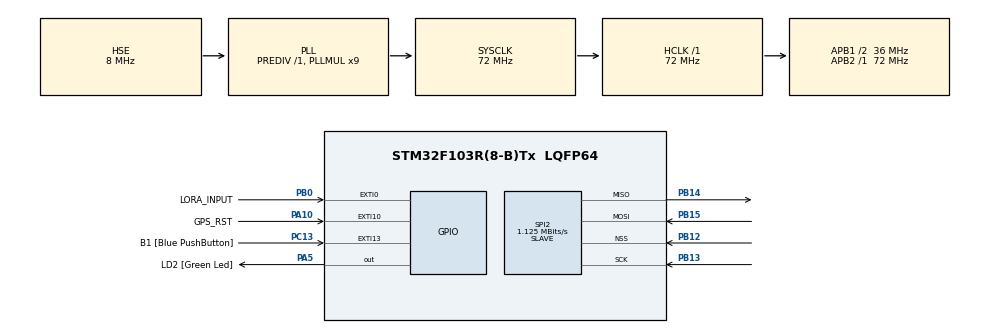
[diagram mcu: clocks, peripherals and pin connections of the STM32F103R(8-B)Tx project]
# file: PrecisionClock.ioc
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Mcu.Family=STM32F1
Mcu.Name=STM32F103R(8-B)Tx
Mcu.Package=LQFP64
NVIC.EXTI0_IRQn=true\:0\:0\:false\:false\:true\:true
NVIC.EXTI15_10_IRQn=true\:0\:0\:false\:false\:true\:true
NVIC.PriorityGroup=NVIC_PRIORITYGROUP_4
NVIC.SPI2_IRQn=true\:0\:0\:false\:false\:true\:true
PA10.GPIO_Label=GPS_RST
PA10.GPIO_PuPd=GPIO_NOPULL
PA10.Signal=GPXTI10
PA13.GPIO_Label=TMS
PA13.Mode=Serial_Wire
PA13.Signal=SYS_JTMS-SWDIO
PA14.GPIO_Label=TCK
PA14.Mode=Serial_Wire
PA14.Signal=SYS_JTCK-SWCLK
PA2.GPIO_Label=USART_TX
PA2.GPIO_Mode=GPIO_MODE_AF_PP
PA2.GPIO_PuPd=GPIO_NOPULL
PA2.GPIO_Speed=GPIO_SPEED_FREQ_LOW
PA2.Signal=USART2_TX
PA3.GPIO_Label=USART_RX
PA3.GPIO_Mode=GPIO_MODE_AF_PP
PA3.GPIO_PuPd=GPIO_NOPULL
PA3.GPIO_Speed=GPIO_SPEED_FREQ_LOW
PA3.Signal=USART2_RX
PA5.GPIO_Label=LD2 [Green Led]
PA5.GPIO_ModeDefaultOutputPP=GPIO_MODE_OUTPUT_PP
PA5.GPIO_PuPd=GPIO_NOPULL
PA5.GPIO_Speed=GPIO_SPEED_FREQ_LOW
PA5.Signal=GPIO_Output
PB0.GPIO_Label=LORA_INPUT
PB0.Signal=GPXTI0
PB12.Mode=NSS_Signal_Hard_Input
PB12.Signal=SPI2_NSS
PB13.Mode=Full_Duplex_Slave
PB13.Signal=SPI2_SCK
PB14.Mode=Full_Duplex_Slave
PB14.Signal=SPI2_MISO
PB15.Mode=Full_Duplex_Slave
PB15.Signal=SPI2_MOSI
PB3.GPIO_Label=SWO
PB3.Signal=SYS_JTDO-TRACESWO
PC13-TAMPER-RTC.GPIO_Label=B1 [Blue PushButton]
PC13-TAMPER-RTC.GPIO_PuPd=GPIO_NOPULL
PC13-TAMPER-RTC.Signal=GPXTI13
PC14-OSC32_IN.Mode=LSE-External-Oscillator
PC14-OSC32_IN.Signal=RCC_OSC32_IN
PC15-OSC32_OUT.Mode=LSE-External-Oscillator
PC15-OSC32_OUT.Signal=RCC_OSC32_OUT
PD0-OSC_IN.Mode=HSE-External-Clock-Source
PD0-OSC_IN.Signal=RCC_OSC_IN
PD1-OSC_OUT.Mode=HSE-External-Clock-Source
PD1-OSC_OUT.Signal=RCC_OSC_OUT
ProjectManager.HeapSize=0x200
ProjectManager.StackSize=0x400
ProjectManager.TargetToolchain=EWARM
RCC.AHBFreq_Value=72000000
RCC.APB1CLKDivider=RCC_HCLK_DIV2
RCC.APB1Freq_Value=36000000
RCC.APB1TimFreq_Value=72000000
RCC.APB2Freq_Value=72000000
RCC.APB2TimFreq_Value=72000000
RCC.HCLKFreq_Value=72000000
RCC.PLLMUL=RCC_PLL_MUL9
RCC.PLLSourceVirtual=RCC_PLLSOURCE_HSE
RCC.RTCClockSelection=RCC_RTCCLKSOURCE_LSE
RCC.SYSCLKFreq_VALUE=72000000
RCC.SYSCLKSource=RCC_SYSCLKSOURCE_PLLCLK
RCC.USBFreq_Value=72000000
SPI2.BaudRatePrescaler=SPI_BAUDRATEPRESCALER_32
SPI2.CalculateBaudRate=1.125 MBits/s
SPI2.Direction=SPI_DIRECTION_2LINES
SPI2.Mode=SPI_MODE_SLAVE
SPI2.VirtualNSS=VM_NSSHARD
SPI2.VirtualType=VM_SLAVE
TIM3.Period=39999
TIM3.Prescaler=8
VP_TIM3_VS_ClockSourceINT.Mode=Internal
board=NUCLEO-F103RB

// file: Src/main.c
/**
  ******************************************************************************
  * @file           : main.c
  * @brief          : Main program body
  ******************************************************************************
  ** This notice applies to any and all portions of this file
  * that are not between comment pairs USER CODE BEGIN and
  * USER CODE END. Other portions of this file, whether
  * inserted by the user or by software development tools
  * are owned by their respective copyright owners.
  *
  * COPYRIGHT(c) 2018 STMicroelectronics
  *
  * Redistribution and use in source and binary forms, with or without modification,
  * are permitted provided that the following conditions are met:
  *   1. Redistributions of source code must retain the above copyright notice,
  *      this list of conditions and the following disclaimer.
  *   2. Redistributions in binary form must reproduce the above copyright notice,
  *      this list of conditions and the following disclaimer in the documentation
  *      and/or other materials provided with the distribution.
  *   3. Neither the name of STMicroelectronics nor the names of its contributors
  *      may be used to endorse or promote products derived from this software
  *      without specific prior written permission.
  *
  * THIS SOFTWARE IS PROVIDED BY THE COPYRIGHT HOLDERS AND CONTRIBUTORS "AS IS"
  * AND ANY EXPRESS OR IMPLIED WARRANTIES, INCLUDING, BUT NOT LIMITED TO, THE
  * IMPLIED WARRANTIES OF MERCHANTABILITY AND FITNESS FOR A PARTICULAR PURPOSE ARE
  * DISCLAIMED. IN NO EVENT SHALL THE COPYRIGHT HOLDER OR CONTRIBUTORS BE LIABLE
  * FOR ANY DIRECT, INDIRECT, INCIDENTAL, SPECIAL, EXEMPLARY, OR CONSEQUENTIAL
  * DAMAGES (INCLUDING, BUT NOT LIMITED TO, PROCUREMENT OF SUBSTITUTE GOODS OR
  * SERVICES; LOSS OF USE, DATA, OR PROFITS; OR BUSINESS INTERRUPTION) HOWEVER
  * CAUSED AND ON ANY THEORY OF LIABILITY, WHETHER IN CONTRACT, STRICT LIABILITY,
  * OR TORT (INCLUDING NEGLIGENCE OR OTHERWISE) ARISING IN ANY WAY OUT OF THE USE
  * OF THIS SOFTWARE, EVEN IF ADVISED OF THE POSSIBILITY OF SUCH DAMAGE.
  *
  ******************************************************************************
  */
#include "main.h"
#include "stm32f1xx_hal.h"

SPI_HandleTypeDef hspi2;

TIM_HandleTypeDef htim3;

/* USER CODE BEGIN PV */
/* Private variables ---------------------------------------------------------*/

static uint32_t curr_ticks;

static uint8_t spi_data_r;
static uint8_t spi_data_t;

static uint8_t send_data = 0;

static uint32_t debounce_counter_ms = 0;

/* USER CODE END PV */

void SystemClock_Config(void);
static void MX_GPIO_Init(void);
static void MX_SPI2_Init(void);
static void MX_TIM3_Init(void);

/* USER CODE BEGIN PFP */
/* Private function prototypes -----------------------------------------------*/

/* USER CODE END PFP */

/* USER CODE BEGIN 0 */

void HAL_SYSTICK_Callback(void)
{
  if (debounce_counter_ms > 0)
  {
    debounce_counter_ms--;
  }
}

void HAL_SPI_RxCpltCallback(SPI_HandleTypeDef *hspi)
{
  unsigned long error;
  uint8_t state_t;

  error = 0;
  state_t = spi_data_r;

  switch (state_t)
  {
    case t_ticks_byte0:
    {
      spi_data_t = (uint8_t)(curr_ticks >> 0);
    }
    break;

    case t_ticks_byte1:
    {
      spi_data_t = (uint8_t)(curr_ticks >> 8);
    }
    break;

    case t_ticks_byte2:
    {
      spi_data_t = (uint8_t)(curr_ticks >> 16);
    }
    break;

    case t_ticks_byte3:
    {
      spi_data_t = (uint8_t)(curr_ticks >> 24);
    }
    break;

    default:
    {
      error = 1;
    }
  }

  if (!error)
  {
    send_data = 1;
  }

  return;
}

void HAL_GPIO_EXTI_Callback(uint16_t GPIO_Pin)
{
  uint32_t curr_ticks_aux;

  switch (GPIO_Pin)
  {
    case LORA_INPUT_Pin:
    {
      // Register time when the modem receives a msg
      curr_ticks_aux = __HAL_TIM_GET_COUNTER(&htim3);

      if (debounce_counter_ms == 0)
      {
        debounce_counter_ms = DEBOUNCE_TIMEOUT;
        curr_ticks = curr_ticks_aux;
      }
    }
    break;

    case GPS_RST_Pin:
    {
      // Reset timer registers
      __HAL_TIM_SET_PRESCALER(&htim3,0);
      __HAL_TIM_SET_COUNTER(&htim3,0);
      __HAL_TIM_SET_PRESCALER(&htim3,8);
      __HAL_TIM_SET_COUNTER(&htim3,0);
    }
    break;

    default:
    {

    }
    break;
  }
}

/* USER CODE END 0 */

int main(void)
{

  /* MCU Configuration----------------------------------------------------------*/

  /* Reset of all peripherals, Initializes the Flash interface and the Systick. */
  HAL_Init();

  /* Configure the system clock */
  SystemClock_Config();

  /* Initialize all configured peripherals */
  MX_GPIO_Init();
  MX_SPI2_Init();
  MX_TIM3_Init();
  /* USER CODE BEGIN 2 */

  HAL_TIM_Base_Start_IT(&htim3);
  HAL_SPI_Receive_IT(&hspi2, &spi_data_r, 1);

  /* USER CODE END 2 */

  /* Infinite loop */
  /* USER CODE BEGIN WHILE */
  while (1)
  {

    if (send_data)
    {
      send_data = 0;

      // Send data
      HAL_SPI_Transmit(&hspi2, (uint8_t *)&spi_data_t, 1, 5);

      // Enter reception mode
      HAL_SPI_Receive_IT(&hspi2, &spi_data_r, 1);
    }

  /* USER CODE END WHILE */

  }

}

void SystemClock_Config(void)
{

  RCC_OscInitTypeDef RCC_OscInitStruct;
  RCC_ClkInitTypeDef RCC_ClkInitStruct;

    /**Initializes the CPU, AHB and APB busses clocks
    */
  RCC_OscInitStruct.OscillatorType = RCC_OSCILLATORTYPE_HSE;
  RCC_OscInitStruct.HSEState = RCC_HSE_BYPASS;
  RCC_OscInitStruct.HSEPredivValue = RCC_HSE_PREDIV_DIV1;
  RCC_OscInitStruct.HSIState = RCC_HSI_ON;
  RCC_OscInitStruct.PLL.PLLState = RCC_PLL_ON;
  RCC_OscInitStruct.PLL.PLLSource = RCC_PLLSOURCE_HSE;
  RCC_OscInitStruct.PLL.PLLMUL = RCC_PLL_MUL9;
  if (HAL_RCC_OscConfig(&RCC_OscInitStruct) != HAL_OK)
  {
    _Error_Handler(__FILE__, __LINE__);
  }

    /**Initializes the CPU, AHB and APB busses clocks
    */
  RCC_ClkInitStruct.ClockType = RCC_CLOCKTYPE_HCLK|RCC_CLOCKTYPE_SYSCLK
                              |RCC_CLOCKTYPE_PCLK1|RCC_CLOCKTYPE_PCLK2;
  RCC_ClkInitStruct.SYSCLKSource = RCC_SYSCLKSOURCE_PLLCLK;
  RCC_ClkInitStruct.AHBCLKDivider = RCC_SYSCLK_DIV1;
  RCC_ClkInitStruct.APB1CLKDivider = RCC_HCLK_DIV2;
  RCC_ClkInitStruct.APB2CLKDivider = RCC_HCLK_DIV1;

  if (HAL_RCC_ClockConfig(&RCC_ClkInitStruct, FLASH_LATENCY_2) != HAL_OK)
  {
    _Error_Handler(__FILE__, __LINE__);
  }

    /**Configure the Systick interrupt time
    */
  HAL_SYSTICK_Config(HAL_RCC_GetHCLKFreq()/1000);

    /**Configure the Systick
    */
  HAL_SYSTICK_CLKSourceConfig(SYSTICK_CLKSOURCE_HCLK);

  /* SysTick_IRQn interrupt configuration */
  HAL_NVIC_SetPriority(SysTick_IRQn, 0, 0);
}

/* SPI2 init function */
static void MX_SPI2_Init(void)
{

  /* SPI2 parameter configuration*/
  hspi2.Instance = SPI2;
  hspi2.Init.Mode = SPI_MODE_SLAVE;
  hspi2.Init.Direction = SPI_DIRECTION_2LINES;
  hspi2.Init.DataSize = SPI_DATASIZE_8BIT;
  hspi2.Init.CLKPolarity = SPI_POLARITY_LOW;
  hspi2.Init.CLKPhase = SPI_PHASE_1EDGE;
  hspi2.Init.NSS = SPI_NSS_HARD_INPUT;
  hspi2.Init.BaudRatePrescaler = SPI_BAUDRATEPRESCALER_32;
  hspi2.Init.FirstBit = SPI_FIRSTBIT_MSB;
  hspi2.Init.TIMode = SPI_TIMODE_DISABLE;
  hspi2.Init.CRCCalculation = SPI_CRCCALCULATION_DISABLE;
  hspi2.Init.CRCPolynomial = 10;
  if (HAL_SPI_Init(&hspi2) != HAL_OK)
  {
    _Error_Handler(__FILE__, __LINE__);
  }

}

/* TIM3 init function */
static void MX_TIM3_Init(void)
{

  TIM_ClockConfigTypeDef sClockSourceConfig;
  TIM_MasterConfigTypeDef sMasterConfig;

  htim3.Instance = TIM3;
  htim3.Init.Prescaler = 8;
  htim3.Init.CounterMode = TIM_COUNTERMODE_UP;
  htim3.Init.Period = 39999;
  htim3.Init.ClockDivision = TIM_CLOCKDIVISION_DIV1;
  htim3.Init.AutoReloadPreload = TIM_AUTORELOAD_PRELOAD_DISABLE;
  if (HAL_TIM_Base_Init(&htim3) != HAL_OK)
  {
    _Error_Handler(__FILE__, __LINE__);
  }

  sClockSourceConfig.ClockSource = TIM_CLOCKSOURCE_INTERNAL;
  if (HAL_TIM_ConfigClockSource(&htim3, &sClockSourceConfig) != HAL_OK)
  {
    _Error_Handler(__FILE__, __LINE__);
  }

  sMasterConfig.MasterOutputTrigger = TIM_TRGO_RESET;
  sMasterConfig.MasterSlaveMode = TIM_MASTERSLAVEMODE_DISABLE;
  if (HAL_TIMEx_MasterConfigSynchronization(&htim3, &sMasterConfig) != HAL_OK)
  {
    _Error_Handler(__FILE__, __LINE__);
  }

}

/** Configure pins as
        * Analog
        * Input
        * Output
        * EVENT_OUT
        * EXTI
     PA2   ------> USART2_TX
     PA3   ------> USART2_RX
*/
static void MX_GPIO_Init(void)
{

  GPIO_InitTypeDef GPIO_InitStruct;

  /* GPIO Ports Clock Enable */
  __HAL_RCC_GPIOC_CLK_ENABLE();
  __HAL_RCC_GPIOD_CLK_ENABLE();
  __HAL_RCC_GPIOA_CLK_ENABLE();
  __HAL_RCC_GPIOB_CLK_ENABLE();

  /*Configure GPIO pin Output Level */
  HAL_GPIO_WritePin(LD2_GPIO_Port, LD2_Pin, GPIO_PIN_RESET);

  /*Configure GPIO pin : B1_Pin */
  GPIO_InitStruct.Pin = B1_Pin;
  GPIO_InitStruct.Mode = GPIO_MODE_IT_RISING;
  GPIO_InitStruct.Pull = GPIO_NOPULL;
  HAL_GPIO_Init(B1_GPIO_Port, &GPIO_InitStruct);

  /*Configure GPIO pins : USART_TX_Pin USART_RX_Pin */
  GPIO_InitStruct.Pin = USART_TX_Pin|USART_RX_Pin;
  GPIO_InitStruct.Mode = GPIO_MODE_AF_PP;
  GPIO_InitStruct.Speed = GPIO_SPEED_FREQ_LOW;
  HAL_GPIO_Init(GPIOA, &GPIO_InitStruct);

  /*Configure GPIO pin : LD2_Pin */
  GPIO_InitStruct.Pin = LD2_Pin;
  GPIO_InitStruct.Mode = GPIO_MODE_OUTPUT_PP;
  GPIO_InitStruct.Pull = GPIO_NOPULL;
  GPIO_InitStruct.Speed = GPIO_SPEED_FREQ_LOW;
  HAL_GPIO_Init(LD2_GPIO_Port, &GPIO_InitStruct);

  /*Configure GPIO pin : LORA_INPUT_Pin */
  GPIO_InitStruct.Pin = LORA_INPUT_Pin;
  GPIO_InitStruct.Mode = GPIO_MODE_IT_RISING;
  GPIO_InitStruct.Pull = GPIO_NOPULL;
  HAL_GPIO_Init(LORA_INPUT_GPIO_Port, &GPIO_InitStruct);

  /*Configure GPIO pin : GPS_RST_Pin */
  GPIO_InitStruct.Pin = GPS_RST_Pin;
  GPIO_InitStruct.Mode = GPIO_MODE_IT_RISING;
  GPIO_InitStruct.Pull = GPIO_NOPULL;
  HAL_GPIO_Init(GPS_RST_GPIO_Port, &GPIO_InitStruct);

  /* EXTI interrupt init*/
  HAL_NVIC_SetPriority(EXTI0_IRQn, 0, 0);
  HAL_NVIC_EnableIRQ(EXTI0_IRQn);

  HAL_NVIC_SetPriority(EXTI15_10_IRQn, 0, 0);
  HAL_NVIC_EnableIRQ(EXTI15_10_IRQn);

}

void _Error_Handler(char *file, int line)
{
  while(1)
  {
  }
}

/************************ (C) COPYRIGHT STMicroelectronics *****END OF FILE****/
